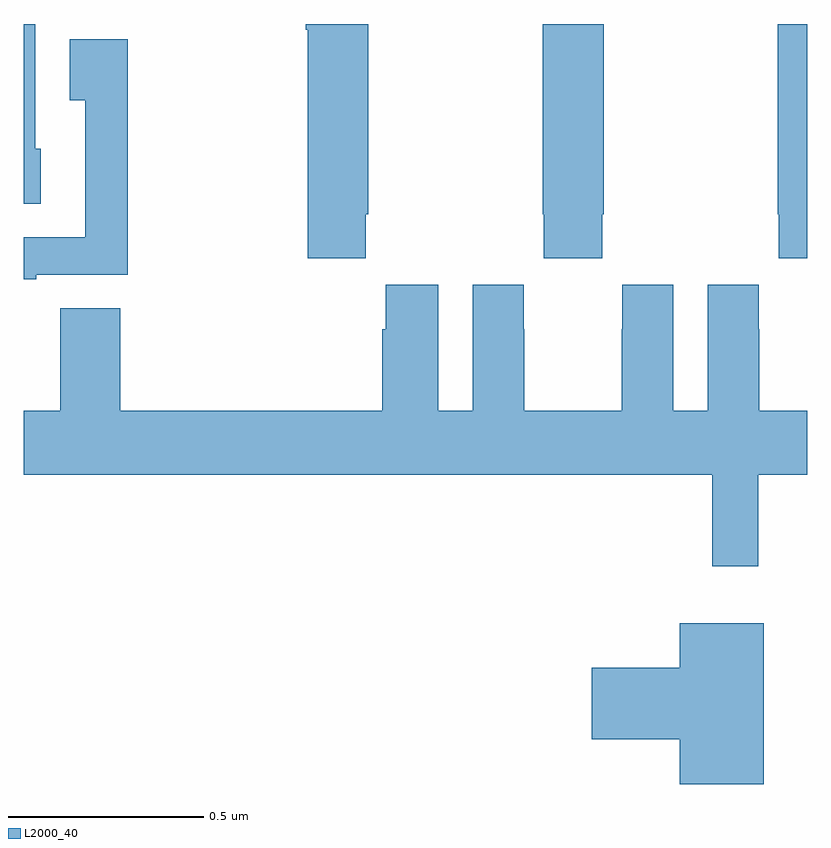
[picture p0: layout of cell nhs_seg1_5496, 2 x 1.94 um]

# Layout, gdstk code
import gdstk
lib = gdstk.Library(unit=1e-6, precision=1e-09)
def P(c, l, *ps):  # polygons
    for p in ps: c.add(gdstk.Polygon(p, *l))
L2000_40 = (2000, 40)

nhs_seg1_5496 = lib.new_cell('nhs_seg1_5496')
P(nhs_seg1_5496, L2000_40, [(179.873,569.713),(179.88,569.713),(179.88,570.199),(179.72,570.199),(179.72,570.184),(179.725,570.184),(179.725,569.601),(179.873,569.601)],
  [(180.477,569.713),(180.48,569.713),(180.48,570.199),(180.325,570.199),(180.325,569.713),(180.327,569.713),(180.327,569.601),(180.477,569.601)],
  [(181,570.199),(180.925,570.199),(180.925,569.713),(180.927,569.713),(180.927,569.601),(181,569.601)],
  [(179.044,569.88),(179.029,569.88),(179.029,570.199),(179,570.199),(179,569.74),(179.044,569.74)],
  [(179.032,569.559),(179.266,569.559),(179.266,570.16),(179.117,570.16),(179.117,570.004),(179.157,570.004),(179.157,569.655),(179,569.655),(179,569.547),(179.032,569.547)],
  [(180.875,569.048),(181,569.048),(181,569.212),(180.877,569.212),(180.877,569.42),(180.876,569.42),(180.876,569.533),(180.746,569.533),(180.746,569.212),(180.658,569.212),(180.658,569.533),(180.528,569.533),(180.528,569.42),(180.527,569.42),(180.527,569.212),(180.277,569.212),(180.277,569.42),(180.276,569.42),(180.276,569.533),(180.146,569.533),(180.146,569.212),(180.058,569.212),(180.058,569.533),(179.924,569.533),(179.924,569.42),(179.915,569.42),(179.915,569.212),(179.246,569.212),(179.246,569.474),(179.093,569.474),(179.093,569.212),(179,569.212),(179,569.048),(180.757,569.048),(180.757,568.815),(180.875,568.815)],
  [(180.889,568.669),(180.674,568.669),(180.674,568.556),(180.45,568.556),(180.45,568.373),(180.674,568.373),(180.674,568.259),(180.889,568.259)])

lib.write_gds('nhs_seg1_5496.gds')
